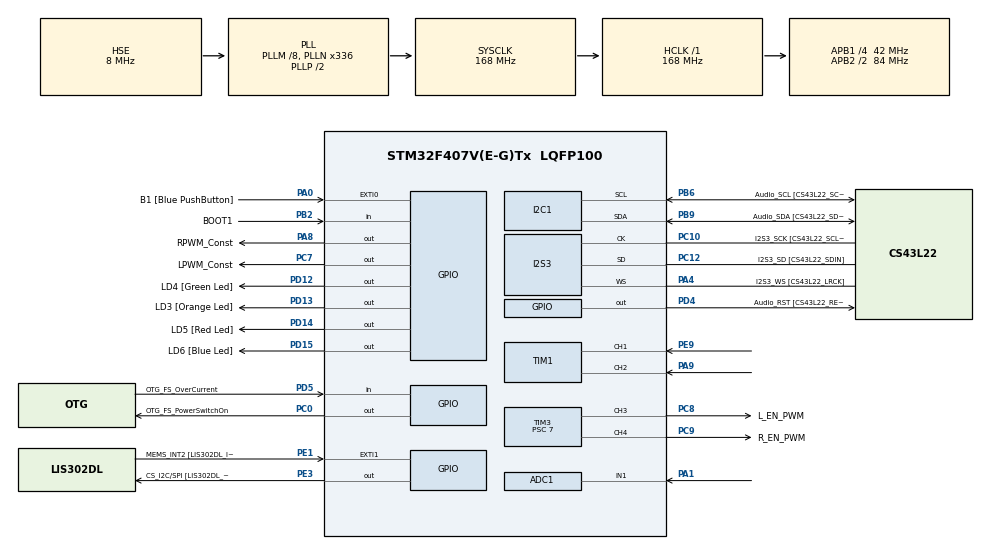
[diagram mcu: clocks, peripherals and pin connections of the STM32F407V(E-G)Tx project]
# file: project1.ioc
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ADC1.Channel-1\#ChannelRegularConversion=ADC_CHANNEL_1
ADC1.ContinuousConvMode=DISABLE
ADC1.DMAContinuousRequests=ENABLE
ADC1.ExternalTrigConv=ADC_EXTERNALTRIGCONV_T2_CC2
ADC1.NbrOfConversionFlag=1
ADC1.Rank-1\#ChannelRegularConversion=1
ADC1.SamplingTime-1\#ChannelRegularConversion=ADC_SAMPLETIME_28CYCLES
ADC1.master=1
Dma.ADC1.0.Direction=DMA_PERIPH_TO_MEMORY
Dma.ADC1.0.FIFOMode=DMA_FIFOMODE_DISABLE
Dma.ADC1.0.Instance=DMA2_Stream0
Dma.ADC1.0.MemDataAlignment=DMA_MDATAALIGN_HALFWORD
Dma.ADC1.0.MemInc=DMA_MINC_ENABLE
Dma.ADC1.0.Mode=DMA_CIRCULAR
Dma.ADC1.0.PeriphDataAlignment=DMA_PDATAALIGN_HALFWORD
Dma.ADC1.0.PeriphInc=DMA_PINC_DISABLE
Dma.ADC1.0.Priority=DMA_PRIORITY_MEDIUM
Dma.Request0=ADC1
I2S3.ErrorAudioFreq=0.0 %
I2S3.FullDuplexMode=I2S_FULLDUPLEXMODE_DISABLE
I2S3.Instance=SPI$Index
I2S3.RealAudioFreq=8.0 KHz
I2S3.VirtualMode=I2S_MODE_MASTER
Mcu.Family=STM32F4
Mcu.Name=STM32F407V(E-G)Tx
Mcu.Package=LQFP100
NVIC.DMA2_Stream0_IRQn=true\:0\:0\:false\:false\:true\:false\:true\:true
NVIC.PriorityGroup=NVIC_PRIORITYGROUP_0
NVIC.TIM1_CC_IRQn=true\:0\:0\:false\:false\:true\:true\:true\:true
NVIC.TIM6_DAC_IRQn=true\:0\:0\:false\:false\:true\:true\:true\:true
PA0-WKUP.GPIO_Label=B1 [Blue PushButton]
PA0-WKUP.GPIO_ModeDefaultEXTI=GPIO_MODE_EVT_RISING
PA0-WKUP.GPIO_PuPd=GPIO_NOPULL
PA0-WKUP.Signal=GPXTI0
PA1.Signal=ADCx_IN1
PA13.GPIO_Label=SWDIO
PA13.Mode=Serial_Wire
PA13.Signal=SYS_JTMS-SWDIO
PA14.GPIO_Label=SWCLK
PA14.Mode=Serial_Wire
PA14.Signal=SYS_JTCK-SWCLK
PA4.GPIO_Label=I2S3_WS [CS43L22_LRCK]
PA4.GPIO_Mode=GPIO_MODE_AF_PP
PA4.GPIO_PuPd=GPIO_NOPULL
PA4.GPIO_Speed=GPIO_SPEED_FREQ_LOW
PA4.Mode=Half_Duplex_Master
PA4.Signal=I2S3_WS
PA5.GPIO_Label=SPI1_SCK [LIS302DL_SCL/SPC]
PA5.GPIO_Mode=GPIO_MODE_AF_PP
PA5.GPIO_PuPd=GPIO_NOPULL
PA5.GPIO_Speed=GPIO_SPEED_FREQ_LOW
PA5.Signal=SPI1_SCK
PA6.GPIO_Label=SPI1_MISO [LIS302DL_SDO]
PA6.GPIO_Mode=GPIO_MODE_AF_PP
PA6.GPIO_PuPd=GPIO_NOPULL
PA6.GPIO_Speed=GPIO_SPEED_FREQ_LOW
PA6.Signal=SPI1_MISO
PA7.GPIO_Label=SPI1_MOSI [LIS302DL_SDA/SDI/SDO]
PA7.GPIO_Mode=GPIO_MODE_AF_PP
PA7.GPIO_PuPd=GPIO_NOPULL
PA7.GPIO_Speed=GPIO_SPEED_FREQ_LOW
PA7.Signal=SPI1_MOSI
PA8.GPIO_Label=RPWM_Const
PA8.GPIO_Speed=GPIO_SPEED_FREQ_HIGH
PA8.Signal=GPIO_Output
PA9.Signal=S_TIM1_CH2
PB10.GPIO_Label=CLK_IN [MP45DT02_CLK]
PB10.GPIO_Mode=GPIO_MODE_AF_PP
PB10.GPIO_PuPd=GPIO_NOPULL
PB10.GPIO_Speed=GPIO_SPEED_FREQ_LOW
PB10.Signal=I2S2_CK
PB2.GPIO_Label=BOOT1
PB2.GPIO_Mode=GPIO_MODE_INPUT
PB2.GPIO_PuPd=GPIO_NOPULL
PB2.Signal=GPIO_Input
PB3.GPIO_Label=SWO
PB3.Signal=SYS_JTDO-SWO
PB6.GPIO_Label=Audio_SCL [CS43L22_SCL]
PB6.GPIO_Mode=GPIO_MODE_AF_OD
PB6.GPIO_Pu=GPIO_PULLUP
PB6.GPIO_PuPd=GPIO_NOPULL
PB6.GPIO_Speed=GPIO_SPEED_FREQ_LOW
PB6.Mode=I2C
PB6.Signal=I2C1_SCL
PB9.GPIO_Label=Audio_SDA [CS43L22_SDA]
PB9.GPIO_Mode=GPIO_MODE_AF_OD
PB9.GPIO_Pu=GPIO_PULLUP
PB9.GPIO_PuPd=GPIO_NOPULL
PB9.GPIO_Speed=GPIO_SPEED_FREQ_LOW
PB9.Mode=I2C
PB9.Signal=I2C1_SDA
PC0.GPIO_Label=OTG_FS_PowerSwitchOn
PC0.GPIO_PuPd=GPIO_NOPULL
PC0.GPIO_Speed=GPIO_SPEED_FREQ_LOW
PC0.PinState=GPIO_PIN_SET
PC0.Signal=GPIO_Output
PC10.GPIO_Label=I2S3_SCK [CS43L22_SCLK]
PC10.GPIO_Mode=GPIO_MODE_AF_PP
PC10.GPIO_PuPd=GPIO_NOPULL
PC10.GPIO_Speed=GPIO_SPEED_FREQ_LOW
PC10.Mode=Half_Duplex_Master
PC10.Signal=I2S3_CK
PC12.GPIO_Label=I2S3_SD [CS43L22_SDIN]
PC12.GPIO_Mode=GPIO_MODE_AF_PP
PC12.GPIO_PuPd=GPIO_NOPULL
PC12.GPIO_Speed=GPIO_SPEED_FREQ_LOW
PC12.Mode=Half_Duplex_Master
PC12.Signal=I2S3_SD
PC14-OSC32_IN.GPIO_Label=PC14-OSC32_IN
PC14-OSC32_IN.Mode=LSE-External-Oscillator
PC14-OSC32_IN.Signal=RCC_OSC32_IN
PC15-OSC32_OUT.GPIO_Label=PC15-OSC32_OUT
PC15-OSC32_OUT.Mode=LSE-External-Oscillator
PC15-OSC32_OUT.Signal=RCC_OSC32_OUT
PC3.GPIO_Label=PDM_OUT [MP45DT02_DOUT]
PC3.GPIO_Mode=GPIO_MODE_AF_PP
PC3.GPIO_PuPd=GPIO_NOPULL
PC3.GPIO_Speed=GPIO_SPEED_FREQ_LOW
PC3.Signal=I2S2_SD
PC7.GPIO_Label=LPWM_Const
PC7.GPIO_Speed=GPIO_SPEED_FREQ_HIGH
PC7.Signal=GPIO_Output
PC8.GPIO_Label=L_EN_PWM
PC8.GPIO_Speed=GPIO_SPEED_FREQ_HIGH
PC8.Signal=S_TIM3_CH3
PC9.GPIO_Label=R_EN_PWM
PC9.GPIO_Speed=GPIO_SPEED_FREQ_HIGH
PC9.Signal=S_TIM3_CH4
PD12.GPIO_Label=LD4 [Green Led]
PD12.GPIO_PuPd=GPIO_NOPULL
PD12.GPIO_Speed=GPIO_SPEED_FREQ_LOW
PD12.Signal=GPIO_Output
PD13.GPIO_Label=LD3 [Orange Led]
PD13.GPIO_PuPd=GPIO_NOPULL
PD13.GPIO_Speed=GPIO_SPEED_FREQ_LOW
PD13.Signal=GPIO_Output
PD14.GPIO_Label=LD5 [Red Led]
PD14.GPIO_PuPd=GPIO_NOPULL
PD14.GPIO_Speed=GPIO_SPEED_FREQ_LOW
PD14.Signal=GPIO_Output
PD15.GPIO_Label=LD6 [Blue Led]
PD15.GPIO_PuPd=GPIO_NOPULL
PD15.GPIO_Speed=GPIO_SPEED_FREQ_LOW
PD15.Signal=GPIO_Output
PD4.GPIO_Label=Audio_RST [CS43L22_RESET]
PD4.GPIO_PuPd=GPIO_NOPULL
PD4.GPIO_Speed=GPIO_SPEED_FREQ_LOW
PD4.Signal=GPIO_Output
PD5.GPIO_Label=OTG_FS_OverCurrent
PD5.GPIO_Mode=GPIO_MODE_INPUT
PD5.GPIO_PuPd=GPIO_NOPULL
PD5.Signal=GPIO_Input
PE1.GPIO_Label=MEMS_INT2 [LIS302DL_INT2]
PE1.GPIO_ModeDefaultEXTI=GPIO_MODE_EVT_RISING
PE1.GPIO_PuPd=GPIO_NOPULL
PE1.Signal=GPXTI1
PE3.GPIO_Label=CS_I2C/SPI [LIS302DL_CS_I2C/SPI]
PE3.GPIO_PuPd=GPIO_NOPULL
PE3.GPIO_Speed=GPIO_SPEED_FREQ_LOW
PE3.Signal=GPIO_Output
PE9.Signal=S_TIM1_CH1
PH0-OSC_IN.GPIO_Label=PH0-OSC_IN
PH0-OSC_IN.Mode=HSE-External-Oscillator
PH0-OSC_IN.Signal=RCC_OSC_IN
PH1-OSC_OUT.GPIO_Label=PH1-OSC_OUT
PH1-OSC_OUT.Mode=HSE-External-Oscillator
PH1-OSC_OUT.Signal=RCC_OSC_OUT
ProjectManager.HeapSize=0x200
ProjectManager.StackSize=0x400
ProjectManager.TargetToolchain=STM32CubeIDE
RCC.48MHZClocksFreq_Value=48000000
RCC.AHBFreq_Value=168000000
RCC.APB1CLKDivider=RCC_HCLK_DIV4
RCC.APB1Freq_Value=42000000
RCC.APB1TimFreq_Value=84000000
RCC.APB2CLKDivider=RCC_HCLK_DIV2
RCC.APB2Freq_Value=84000000
RCC.APB2TimFreq_Value=168000000
RCC.CortexFreq_Value=168000000
RCC.HCLKFreq_Value=168000000
RCC.HSE_VALUE=8000000
RCC.HSI_VALUE=16000000
RCC.PLLM=8
RCC.PLLN=336
RCC.PLLQ=7
RCC.PLLSourceVirtual=RCC_PLLSOURCE_HSE
RCC.SYSCLKFreq_VALUE=168000000
RCC.SYSCLKSource=RCC_SYSCLKSOURCE_PLLCLK
RCC.VCOOutputFreq_Value=336000000
SH.ADCx_IN1.0=ADC1_IN1,IN1
SH.S_TIM1_CH1.0=TIM1_CH1,Encoder_Interface
SH.S_TIM1_CH2.0=TIM1_CH2,Encoder_Interface
SH.S_TIM3_CH3.0=TIM3_CH3,PWM Generation3 CH3
SH.S_TIM3_CH4.0=TIM3_CH4,PWM Generation4 CH4
TIM1.EncoderMode=TIM_ENCODERMODE_TI12
TIM2.Period=9
TIM2.Prescaler=8399
TIM2.TIM_MasterOutputTrigger=TIM_TRGO_UPDATE
TIM3.Channel-PWM\ Generation3\ CH3=TIM_CHANNEL_3
TIM3.Channel-PWM\ Generation4\ CH4=TIM_CHANNEL_4
TIM3.Period=999
TIM3.Prescaler=7
TIM6.Period=9999
TIM6.Prescaler=8399
VP_TIM2_VS_ClockSourceINT.Mode=Internal
VP_TIM6_VS_ClockSourceINT.Mode=Enable_Timer
board=STM32F407G-DISC1

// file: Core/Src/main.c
/* USER CODE BEGIN Header */

/* USER CODE END Header */
#include "main.h"

ADC_HandleTypeDef hadc1;
DMA_HandleTypeDef hdma_adc1;

I2C_HandleTypeDef hi2c1;

I2S_HandleTypeDef hi2s3;

TIM_HandleTypeDef htim1;
TIM_HandleTypeDef htim2;
TIM_HandleTypeDef htim3;
TIM_HandleTypeDef htim6;

/* USER CODE BEGIN PV */

/* ---------- encoder / timing ---------- */

/* Counts and timing */
const uint32_t SAMPLE_HZ = 1; // 1 Hz (1 s)
const uint32_t SAMPLE_INTERVAL_HZ = 1000000u / SAMPLE_HZ; // 1 Hz (1 s)

volatile uint8_t encoder_print_request = 0; // запрос на отладочную печать скорости (поднимается раз в секунду по прерыванию)

volatile int16_t encoder_last_cnt = 0;     // last 16-bit reading (signed cast)
volatile int64_t encoder_total = 0;        // cumulative total ticks (64-bit to avoid overflow)
volatile int32_t encoder_delta = 0;        // last delta (ticks)
volatile float encoder_speed_tps = 0.0f;   // ticks per second (sampled)
volatile int8_t encoder_direction = 0;     // sign of speed: 1 / -1 / 0

/* encoder parameters */
const int ENCODER_TICKS_PER_MOTOR_REV = 44;   // 44 (A↑/A↓/B↑/B↓)*11 на моторном валу
const int GEAR_RATIO = 131;                  // мотор:редуктор = 131:1
const int TICKS_PER_OUTPUT_REV = ENCODER_TICKS_PER_MOTOR_REV * GEAR_RATIO;

/* periodic sampling using DWT micros()*/
static uint32_t encoder_sample_interval_us = 10000u; // 10 ms => 100 Hz
static uint32_t encoder_last_sample_us = 0u;

/* TIM clock (timer input clock Hz) */
uint32_t TIM1_clk_hz = 0u;

/* ----------motors_tests---------------------------*/
uint32_t motor_state = 0;
uint32_t motor_state_last_ts = 0;

/* ---------- DWT microsecond timer (for precise dt) ---------- */
static uint32_t dwt_cycles_per_us = 0u;
static void DWT_Init(void)
{
    /* Enable DWT cycle counter for microsecond timestamps */
    if (!(CoreDebug->DEMCR & CoreDebug_DEMCR_TRCENA_Msk)) {
        CoreDebug->DEMCR |= CoreDebug_DEMCR_TRCENA_Msk;
    }
    DWT->CYCCNT = 0;
    DWT->CTRL |= DWT_CTRL_CYCCNTENA_Msk;

    /* SystemCoreClock must be updated before this call */
    dwt_cycles_per_us = SystemCoreClock / 1000000u;
    if (dwt_cycles_per_us == 0u) dwt_cycles_per_us = 1u; /* guard */
}
static inline uint32_t micros(void)
{
    /* Return microseconds since DWT->CYCCNT reset */
    return (uint32_t)(DWT->CYCCNT / dwt_cycles_per_us);
}

/* ---------- ADC (current sense) ---------- */
volatile uint16_t adc_val = 0;
volatile uint32_t adc_sample_counter = 0;

const float ADC_VREF = 3.3f;
const float ADC_MAX = 4095.0f;
const float ACS_SENS = 0.185f;     // V/A for ACS712-5A
const float VOLT_DIV_RATIO = 1.0f; // volt divider

volatile float V_zero = 0.0f;

/* USER CODE END PV */

void SystemClock_Config(void);
static void MX_GPIO_Init(void);
static void MX_DMA_Init(void);
static void MX_I2C1_Init(void);
static void MX_I2S3_Init(void);
static void MX_TIM3_Init(void);
static void MX_ADC1_Init(void);
static void MX_TIM2_Init(void);
static void MX_TIM1_Init(void);
static void MX_TIM6_Init(void);
/* USER CODE BEGIN PFP */
/* motor functions */
uint32_t Speed_To_Duty(int16_t speed);
void Set_Motor_Speed(int16_t speed);
void Set_Motor_Brake(int16_t speed);
static inline void set_direction_forward(void);
static inline void set_direction_backward(void);
static inline void set_direction_stop_brake(void);
static inline void set_speed(uint32_t duty);

/* encoder functions */
void encoder_init_and_start(void);
void HAL_TIM_PeriodElapsedCallback(TIM_HandleTypeDef *htim);
float ticks_to_rad_per_sec(float ticks_per_sec);
float ticks_to_rpm(float ticks_per_sec);

/* USER CODE END PFP */

int main(void)
{

  /* MCU Configuration--------------------------------------------------------*/

  /* Reset of all peripherals, Initializes the Flash interface and the Systick. */
  HAL_Init();

  /* Configure the system clock */
  SystemClock_Config();

  /* Initialize all configured peripherals */
  MX_GPIO_Init();
  MX_DMA_Init();
  MX_I2C1_Init();
  MX_I2S3_Init();
  MX_TIM3_Init(); // PWM
  MX_ADC1_Init();
  MX_TIM2_Init(); // ADC TRGO timer
  MX_TIM1_Init(); // encoder
  MX_TIM6_Init(); // basic timer for periodic updates (speed)
  /* USER CODE BEGIN 2 */

  /* start PWM channels (motor) */
  if (HAL_TIM_PWM_Start(&htim3, TIM_CHANNEL_4) != HAL_OK) Error_Handler();
  if (HAL_TIM_PWM_Start(&htim3, TIM_CHANNEL_3) != HAL_OK) Error_Handler();
  set_direction_stop_brake();

  /* update SystemCoreClock and init DWT micros() */
  // Здесь запускаем аппаратный счётчик тактов на CPU
  SystemCoreClockUpdate();
  DWT_Init();
  //printf("DWT cycles/us = %u, micros() = %u\n", dwt_cycles_per_us, micros());

  /* compute TIM1 clock: timers on APB2 get clock = PCLK2 * (APB2_prescaler==1 ? 1 : 2) */
  uint32_t pclk2 = HAL_RCC_GetPCLK2Freq(); // returns PCLK2
  // If APB2 prescaler != 1, timer clock is doubled on STM32F4 family
  TIM1_clk_hz = ( (RCC->CFGR & RCC_CFGR_PPRE2) == RCC_CFGR_PPRE2_DIV1 ) ? pclk2 : (pclk2 * 2u);

  /* Start encoder interface (hardware encoder mode) */
  encoder_init_and_start();

  /* Configure ADC DMA (circular) and start ADC with DMA. */
  if (HAL_ADC_Start_DMA(&hadc1, (uint32_t*)&adc_val, 1) != HAL_OK) { Error_Handler(); }
  /* Start TIM2 (it is configured to generate TRGO for ADC) */
  if (HAL_TIM_Base_Start(&htim2) != HAL_OK) { Error_Handler(); } // TIM2 -> ADC TRGO in your config

  /* calibration: read some samples to compute V_zero */
  HAL_Delay(200);
  uint32_t sum = 0;
  const int CAL_SAMPLES = 200;
  for (int i=0; i<CAL_SAMPLES; ++i) {
      HAL_Delay(1);
      sum += (uint32_t)adc_val;
  }
  float adc_avg = (float)sum / (float)CAL_SAMPLES;
  V_zero = adc_avg * (ADC_VREF / ADC_MAX) / VOLT_DIV_RATIO;
  printf("ADC zero calibrated: adc_avg=%.1f, V_zero=%.4f V\r\n", adc_avg, V_zero);

  encoder_last_sample_us = micros();

  /* USER CODE END 2 */

  /* Infinite loop */
  while (1)
  {

    /* USER CODE BEGIN 3 */

    if (encoder_print_request) {
    	encoder_print_request = 0;
    	float rpm = ticks_to_rpm(encoder_speed_tps);
    	float rds = ticks_to_rad_per_sec(encoder_speed_tps);
    	printf("rpm=%.2f rds=%.2f tps=%.1f dir=%d\n", rpm, rds, encoder_speed_tps, (int)encoder_direction);
    	uint32_t pclk2 = HAL_RCC_GetPCLK2Freq();
    	uint32_t tim1_clk = ( (RCC->CFGR & RCC_CFGR_PPRE2) == RCC_CFGR_PPRE2_DIV1 ) ? pclk2 : (pclk2 * 2u);
    	printf("HCLK=%lu PCLK2=%lu TIM1_clk=%lu\n", (unsigned long)SystemCoreClock, (unsigned long)pclk2, (unsigned long)tim1_clk);
    }

    uint32_t now = HAL_GetTick();
    uint32_t elapsed = now - motor_state_last_ts;
    switch (motor_state) {
        case 0:
            Set_Motor_Speed(-800);
            motor_state_last_ts = now;
            motor_state = 1;
            break;
        case 1:
        	if (elapsed >= 3000u) {
        	    Set_Motor_Brake(0);
        	    motor_state_last_ts = now;
        	    motor_state = 2;
        	}
        	break;
        case 2:
            if (elapsed >= 3000u) {
                Set_Motor_Speed(800);
                motor_state_last_ts = now;
                motor_state = 3;
            }
            break;
        case 3:
        	if (elapsed >= 3000u) {
        	    Set_Motor_Brake(0);
        	    motor_state_last_ts = now;
        	    motor_state = 4;
        	}
        	break;
        case 4:
            if (elapsed >= 3000u) {
                motor_state_last_ts = now;
                motor_state = 0;
            }
            break;
        default:
        	motor_state = 0;
        	motor_state_last_ts = now;
        	break;
    }
  }
  /* USER CODE END 3 */
}

void SystemClock_Config(void)
{
  RCC_OscInitTypeDef RCC_OscInitStruct = {0};
  RCC_ClkInitTypeDef RCC_ClkInitStruct = {0};

  /** Configure the main internal regulator output voltage
  */
  __HAL_RCC_PWR_CLK_ENABLE();
  __HAL_PWR_VOLTAGESCALING_CONFIG(PWR_REGULATOR_VOLTAGE_SCALE1);

  /** Initializes the RCC Oscillators according to the specified parameters
  * in the RCC_OscInitTypeDef structure.
  */
  RCC_OscInitStruct.OscillatorType = RCC_OSCILLATORTYPE_HSE;
  RCC_OscInitStruct.HSEState = RCC_HSE_ON;
  RCC_OscInitStruct.PLL.PLLState = RCC_PLL_ON;
  RCC_OscInitStruct.PLL.PLLSource = RCC_PLLSOURCE_HSE;
  RCC_OscInitStruct.PLL.PLLM = 8;
  RCC_OscInitStruct.PLL.PLLN = 336;
  RCC_OscInitStruct.PLL.PLLP = RCC_PLLP_DIV2;
  RCC_OscInitStruct.PLL.PLLQ = 7;
  if (HAL_RCC_OscConfig(&RCC_OscInitStruct) != HAL_OK)
  {
    Error_Handler();
  }

  /** Initializes the CPU, AHB and APB buses clocks
  */
  RCC_ClkInitStruct.ClockType = RCC_CLOCKTYPE_HCLK|RCC_CLOCKTYPE_SYSCLK
                              |RCC_CLOCKTYPE_PCLK1|RCC_CLOCKTYPE_PCLK2;
  RCC_ClkInitStruct.SYSCLKSource = RCC_SYSCLKSOURCE_PLLCLK;
  RCC_ClkInitStruct.AHBCLKDivider = RCC_SYSCLK_DIV1;
  RCC_ClkInitStruct.APB1CLKDivider = RCC_HCLK_DIV4;
  RCC_ClkInitStruct.APB2CLKDivider = RCC_HCLK_DIV2;

  if (HAL_RCC_ClockConfig(&RCC_ClkInitStruct, FLASH_LATENCY_5) != HAL_OK)
  {
    Error_Handler();
  }
}

static void MX_ADC1_Init(void)
{

  ADC_ChannelConfTypeDef sConfig = {0};

  /** Configure the global features of the ADC (Clock, Resolution, Data Alignment and number of conversion)
  */
  hadc1.Instance = ADC1;
  hadc1.Init.ClockPrescaler = ADC_CLOCK_SYNC_PCLK_DIV4;
  hadc1.Init.Resolution = ADC_RESOLUTION_12B;
  hadc1.Init.ScanConvMode = DISABLE;
  hadc1.Init.ContinuousConvMode = DISABLE;
  hadc1.Init.DiscontinuousConvMode = DISABLE;
  hadc1.Init.ExternalTrigConvEdge = ADC_EXTERNALTRIGCONVEDGE_RISING;
  hadc1.Init.ExternalTrigConv = ADC_EXTERNALTRIGCONV_T2_CC2;
  hadc1.Init.DataAlign = ADC_DATAALIGN_RIGHT;
  hadc1.Init.NbrOfConversion = 1;
  hadc1.Init.DMAContinuousRequests = ENABLE;
  hadc1.Init.EOCSelection = ADC_EOC_SINGLE_CONV;
  if (HAL_ADC_Init(&hadc1) != HAL_OK)
  {
    Error_Handler();
  }

  /** Configure for the selected ADC regular channel its corresponding rank in the sequencer and its sample time.
  */
  sConfig.Channel = ADC_CHANNEL_1;
  sConfig.Rank = 1;
  sConfig.SamplingTime = ADC_SAMPLETIME_28CYCLES;
  if (HAL_ADC_ConfigChannel(&hadc1, &sConfig) != HAL_OK)
  {
    Error_Handler();
  }

}

static void MX_I2C1_Init(void)
{

  hi2c1.Instance = I2C1;
  hi2c1.Init.ClockSpeed = 100000;
  hi2c1.Init.DutyCycle = I2C_DUTYCYCLE_2;
  hi2c1.Init.OwnAddress1 = 0;
  hi2c1.Init.AddressingMode = I2C_ADDRESSINGMODE_7BIT;
  hi2c1.Init.DualAddressMode = I2C_DUALADDRESS_DISABLE;
  hi2c1.Init.OwnAddress2 = 0;
  hi2c1.Init.GeneralCallMode = I2C_GENERALCALL_DISABLE;
  hi2c1.Init.NoStretchMode = I2C_NOSTRETCH_DISABLE;
  if (HAL_I2C_Init(&hi2c1) != HAL_OK)
  {
    Error_Handler();
  }

}

static void MX_I2S3_Init(void)
{

  hi2s3.Instance = SPI3;
  hi2s3.Init.Mode = I2S_MODE_MASTER_TX;
  hi2s3.Init.Standard = I2S_STANDARD_PHILIPS;
  hi2s3.Init.DataFormat = I2S_DATAFORMAT_16B;
  hi2s3.Init.MCLKOutput = I2S_MCLKOUTPUT_DISABLE;
  hi2s3.Init.AudioFreq = I2S_AUDIOFREQ_8K;
  hi2s3.Init.CPOL = I2S_CPOL_LOW;
  hi2s3.Init.ClockSource = I2S_CLOCK_PLL;
  hi2s3.Init.FullDuplexMode = I2S_FULLDUPLEXMODE_DISABLE;
  if (HAL_I2S_Init(&hi2s3) != HAL_OK)
  {
    Error_Handler();
  }

}

static void MX_TIM1_Init(void)
{

  TIM_Encoder_InitTypeDef sConfig = {0};
  TIM_MasterConfigTypeDef sMasterConfig = {0};

  htim1.Instance = TIM1;
  htim1.Init.Prescaler = 0;
  htim1.Init.CounterMode = TIM_COUNTERMODE_UP;
  htim1.Init.Period = 65535;
  htim1.Init.ClockDivision = TIM_CLOCKDIVISION_DIV1;
  htim1.Init.RepetitionCounter = 0;
  htim1.Init.AutoReloadPreload = TIM_AUTORELOAD_PRELOAD_DISABLE;
  sConfig.EncoderMode = TIM_ENCODERMODE_TI12;
  sConfig.IC1Polarity = TIM_ICPOLARITY_RISING;
  sConfig.IC1Selection = TIM_ICSELECTION_DIRECTTI;
  sConfig.IC1Prescaler = TIM_ICPSC_DIV1;
  sConfig.IC1Filter = 0;
  sConfig.IC2Polarity = TIM_ICPOLARITY_RISING;
  sConfig.IC2Selection = TIM_ICSELECTION_DIRECTTI;
  sConfig.IC2Prescaler = TIM_ICPSC_DIV1;
  sConfig.IC2Filter = 0;
  if (HAL_TIM_Encoder_Init(&htim1, &sConfig) != HAL_OK)
  {
    Error_Handler();
  }
  sMasterConfig.MasterOutputTrigger = TIM_TRGO_RESET;
  sMasterConfig.MasterSlaveMode = TIM_MASTERSLAVEMODE_DISABLE;
  if (HAL_TIMEx_MasterConfigSynchronization(&htim1, &sMasterConfig) != HAL_OK)
  {
    Error_Handler();
  }

}

static void MX_TIM2_Init(void)
{

  TIM_ClockConfigTypeDef sClockSourceConfig = {0};
  TIM_MasterConfigTypeDef sMasterConfig = {0};

  htim2.Instance = TIM2;
  htim2.Init.Prescaler = 8399;
  htim2.Init.CounterMode = TIM_COUNTERMODE_UP;
  htim2.Init.Period = 9;
  htim2.Init.ClockDivision = TIM_CLOCKDIVISION_DIV1;
  htim2.Init.AutoReloadPreload = TIM_AUTORELOAD_PRELOAD_DISABLE;
  if (HAL_TIM_Base_Init(&htim2) != HAL_OK)
  {
    Error_Handler();
  }
  sClockSourceConfig.ClockSource = TIM_CLOCKSOURCE_INTERNAL;
  if (HAL_TIM_ConfigClockSource(&htim2, &sClockSourceConfig) != HAL_OK)
  {
    Error_Handler();
  }
  sMasterConfig.MasterOutputTrigger = TIM_TRGO_UPDATE;
  sMasterConfig.MasterSlaveMode = TIM_MASTERSLAVEMODE_DISABLE;
  if (HAL_TIMEx_MasterConfigSynchronization(&htim2, &sMasterConfig) != HAL_OK)
  {
    Error_Handler();
  }

}

static void MX_TIM3_Init(void)
{

  TIM_MasterConfigTypeDef sMasterConfig = {0};
  TIM_OC_InitTypeDef sConfigOC = {0};

  htim3.Instance = TIM3;
  htim3.Init.Prescaler = 7;
  htim3.Init.CounterMode = TIM_COUNTERMODE_UP;
  htim3.Init.Period = 999;
  htim3.Init.ClockDivision = TIM_CLOCKDIVISION_DIV1;
  htim3.Init.AutoReloadPreload = TIM_AUTORELOAD_PRELOAD_DISABLE;
  if (HAL_TIM_PWM_Init(&htim3) != HAL_OK)
  {
    Error_Handler();
  }
  sMasterConfig.MasterOutputTrigger = TIM_TRGO_RESET;
  sMasterConfig.MasterSlaveMode = TIM_MASTERSLAVEMODE_DISABLE;
  if (HAL_TIMEx_MasterConfigSynchronization(&htim3, &sMasterConfig) != HAL_OK)
  {
    Error_Handler();
  }
  sConfigOC.OCMode = TIM_OCMODE_PWM1;
  sConfigOC.Pulse = 0;
  sConfigOC.OCPolarity = TIM_OCPOLARITY_HIGH;
  sConfigOC.OCFastMode = TIM_OCFAST_DISABLE;
  if (HAL_TIM_PWM_ConfigChannel(&htim3, &sConfigOC, TIM_CHANNEL_3) != HAL_OK)
  {
    Error_Handler();
  }
  if (HAL_TIM_PWM_ConfigChannel(&htim3, &sConfigOC, TIM_CHANNEL_4) != HAL_OK)
  {
    Error_Handler();
  }
  HAL_TIM_MspPostInit(&htim3);

}

static void MX_TIM6_Init(void)
{

  TIM_MasterConfigTypeDef sMasterConfig = {0};

  htim6.Instance = TIM6;
  htim6.Init.Prescaler = 8399;
  htim6.Init.CounterMode = TIM_COUNTERMODE_UP;
  htim6.Init.Period = 9999;
  htim6.Init.AutoReloadPreload = TIM_AUTORELOAD_PRELOAD_DISABLE;
  if (HAL_TIM_Base_Init(&htim6) != HAL_OK)
  {
    Error_Handler();
  }
  sMasterConfig.MasterOutputTrigger = TIM_TRGO_RESET;
  sMasterConfig.MasterSlaveMode = TIM_MASTERSLAVEMODE_DISABLE;
  if (HAL_TIMEx_MasterConfigSynchronization(&htim6, &sMasterConfig) != HAL_OK)
  {
    Error_Handler();
  }
  if (HAL_TIM_Base_Start_IT(&htim6) != HAL_OK) {
	  Error_Handler();
  }
  /* USER CODE BEGIN TIM6_Init 2 */
  HAL_NVIC_SetPriority(TIM6_DAC_IRQn, 2, 0);
  HAL_NVIC_EnableIRQ(TIM6_DAC_IRQn);
  /* USER CODE END TIM6_Init 2 */

}

static void MX_DMA_Init(void)
{

  /* DMA controller clock enable */
  __HAL_RCC_DMA2_CLK_ENABLE();

  /* DMA interrupt init */
  /* DMA2_Stream0_IRQn interrupt configuration */
  HAL_NVIC_SetPriority(DMA2_Stream0_IRQn, 0, 0);
  HAL_NVIC_EnableIRQ(DMA2_Stream0_IRQn);

}

static void MX_GPIO_Init(void)
{
  GPIO_InitTypeDef GPIO_InitStruct = {0};

  /* GPIO Ports Clock Enable */
  __HAL_RCC_GPIOE_CLK_ENABLE();
  __HAL_RCC_GPIOC_CLK_ENABLE();
  __HAL_RCC_GPIOH_CLK_ENABLE();
  __HAL_RCC_GPIOA_CLK_ENABLE();
  __HAL_RCC_GPIOB_CLK_ENABLE();
  __HAL_RCC_GPIOD_CLK_ENABLE();

  /*Configure GPIO pin Output Level */
  HAL_GPIO_WritePin(CS_I2C_SPI_GPIO_Port, CS_I2C_SPI_Pin, GPIO_PIN_RESET);

  /*Configure GPIO pin Output Level */
  HAL_GPIO_WritePin(OTG_FS_PowerSwitchOn_GPIO_Port, OTG_FS_PowerSwitchOn_Pin, GPIO_PIN_SET);

  /*Configure GPIO pin Output Level */
  HAL_GPIO_WritePin(GPIOD, LD4_Pin|LD3_Pin|LD5_Pin|LD6_Pin
                          |Audio_RST_Pin, GPIO_PIN_RESET);

  /*Configure GPIO pin Output Level */
  HAL_GPIO_WritePin(LPWM_Const_GPIO_Port, LPWM_Const_Pin, GPIO_PIN_RESET);

  /*Configure GPIO pin Output Level */
  HAL_GPIO_WritePin(RPWM_Const_GPIO_Port, RPWM_Const_Pin, GPIO_PIN_RESET);

  /*Configure GPIO pin : CS_I2C_SPI_Pin */
  GPIO_InitStruct.Pin = CS_I2C_SPI_Pin;
  GPIO_InitStruct.Mode = GPIO_MODE_OUTPUT_PP;
  GPIO_InitStruct.Pull = GPIO_NOPULL;
  GPIO_InitStruct.Speed = GPIO_SPEED_FREQ_LOW;
  HAL_GPIO_Init(CS_I2C_SPI_GPIO_Port, &GPIO_InitStruct);

  /*Configure GPIO pin : OTG_FS_PowerSwitchOn_Pin */
  GPIO_InitStruct.Pin = OTG_FS_PowerSwitchOn_Pin;
  GPIO_InitStruct.Mode = GPIO_MODE_OUTPUT_PP;
  GPIO_InitStruct.Pull = GPIO_NOPULL;
  GPIO_InitStruct.Speed = GPIO_SPEED_FREQ_LOW;
  HAL_GPIO_Init(OTG_FS_PowerSwitchOn_GPIO_Port, &GPIO_InitStruct);

  /*Configure GPIO pin : PDM_OUT_Pin */
  GPIO_InitStruct.Pin = PDM_OUT_Pin;
  GPIO_InitStruct.Mode = GPIO_MODE_AF_PP;
  GPIO_InitStruct.Pull = GPIO_NOPULL;
  GPIO_InitStruct.Speed = GPIO_SPEED_FREQ_LOW;
  GPIO_InitStruct.Alternate = GPIO_AF5_SPI2;
  HAL_GPIO_Init(PDM_OUT_GPIO_Port, &GPIO_InitStruct);

  /*Configure GPIO pin : B1_Pin */
  GPIO_InitStruct.Pin = B1_Pin;
  GPIO_InitStruct.Mode = GPIO_MODE_EVT_RISING;
  GPIO_InitStruct.Pull = GPIO_NOPULL;
  HAL_GPIO_Init(B1_GPIO_Port, &GPIO_InitStruct);

  /*Configure GPIO pins : SPI1_SCK_Pin SPI1_MISO_Pin SPI1_MOSI_Pin */
  GPIO_InitStruct.Pin = SPI1_SCK_Pin|SPI1_MISO_Pin|SPI1_MOSI_Pin;
  GPIO_InitStruct.Mode = GPIO_MODE_AF_PP;
  GPIO_InitStruct.Pull = GPIO_NOPULL;
  GPIO_InitStruct.Speed = GPIO_SPEED_FREQ_LOW;
  GPIO_InitStruct.Alternate = GPIO_AF5_SPI1;
  HAL_GPIO_Init(GPIOA, &GPIO_InitStruct);

  /*Configure GPIO pin : BOOT1_Pin */
  GPIO_InitStruct.Pin = BOOT1_Pin;
  GPIO_InitStruct.Mode = GPIO_MODE_INPUT;
  GPIO_InitStruct.Pull = GPIO_NOPULL;
  HAL_GPIO_Init(BOOT1_GPIO_Port, &GPIO_InitStruct);

  /*Configure GPIO pin : CLK_IN_Pin */
  GPIO_InitStruct.Pin = CLK_IN_Pin;
  GPIO_InitStruct.Mode = GPIO_MODE_AF_PP;
  GPIO_InitStruct.Pull = GPIO_NOPULL;
  GPIO_InitStruct.Speed = GPIO_SPEED_FREQ_LOW;
  GPIO_InitStruct.Alternate = GPIO_AF5_SPI2;
  HAL_GPIO_Init(CLK_IN_GPIO_Port, &GPIO_InitStruct);

  /*Configure GPIO pins : LD4_Pin LD3_Pin LD5_Pin LD6_Pin
                           Audio_RST_Pin */
  GPIO_InitStruct.Pin = LD4_Pin|LD3_Pin|LD5_Pin|LD6_Pin
                          |Audio_RST_Pin;
  GPIO_InitStruct.Mode = GPIO_MODE_OUTPUT_PP;
  GPIO_InitStruct.Pull = GPIO_NOPULL;
  GPIO_InitStruct.Speed = GPIO_SPEED_FREQ_LOW;
  HAL_GPIO_Init(GPIOD, &GPIO_InitStruct);

  /*Configure GPIO pin : LPWM_Const_Pin */
  GPIO_InitStruct.Pin = LPWM_Const_Pin;
  GPIO_InitStruct.Mode = GPIO_MODE_OUTPUT_PP;
  GPIO_InitStruct.Pull = GPIO_NOPULL;
  GPIO_InitStruct.Speed = GPIO_SPEED_FREQ_HIGH;
  HAL_GPIO_Init(LPWM_Const_GPIO_Port, &GPIO_InitStruct);

  /*Configure GPIO pin : RPWM_Const_Pin */
  GPIO_InitStruct.Pin = RPWM_Const_Pin;
  GPIO_InitStruct.Mode = GPIO_MODE_OUTPUT_PP;
  GPIO_InitStruct.Pull = GPIO_NOPULL;
  GPIO_InitStruct.Speed = GPIO_SPEED_FREQ_HIGH;
  HAL_GPIO_Init(RPWM_Const_GPIO_Port, &GPIO_InitStruct);

  /*Configure GPIO pin : OTG_FS_OverCurrent_Pin */
  GPIO_InitStruct.Pin = OTG_FS_OverCurrent_Pin;
  GPIO_InitStruct.Mode = GPIO_MODE_INPUT;
  GPIO_InitStruct.Pull = GPIO_NOPULL;
  HAL_GPIO_Init(OTG_FS_OverCurrent_GPIO_Port, &GPIO_InitStruct);

  /*Configure GPIO pin : MEMS_INT2_Pin */
  GPIO_InitStruct.Pin = MEMS_INT2_Pin;
  GPIO_InitStruct.Mode = GPIO_MODE_EVT_RISING;
  GPIO_InitStruct.Pull = GPIO_NOPULL;
  HAL_GPIO_Init(MEMS_INT2_GPIO_Port, &GPIO_InitStruct);

  /* USER CODE BEGIN MX_GPIO_Init_2 */

  /* PA1 -> ADC1_IN1 */

  GPIO_InitStruct.Pin = GPIO_PIN_1;
  GPIO_InitStruct.Mode = GPIO_MODE_ANALOG;
  GPIO_InitStruct.Pull = GPIO_NOPULL;
  HAL_GPIO_Init(GPIOA, &GPIO_InitStruct);

  /* TIM1_CH1 -> PE9 */
  GPIO_InitStruct.Pin = GPIO_PIN_9;
  GPIO_InitStruct.Mode = GPIO_MODE_AF_PP;            // alternate func
  GPIO_InitStruct.Pull = GPIO_PULLDOWN;              // or GPIO_PULLUP depending on your hall idle level
  GPIO_InitStruct.Speed = GPIO_SPEED_FREQ_LOW;
  GPIO_InitStruct.Alternate = GPIO_AF1_TIM1;         // AF1 for TIM1 on F4
  HAL_GPIO_Init(GPIOE, &GPIO_InitStruct);

  /* TIM1_CH2 -> PA9 */
  GPIO_InitStruct.Pin = GPIO_PIN_9;
  GPIO_InitStruct.Mode = GPIO_MODE_AF_PP;
  GPIO_InitStruct.Pull = GPIO_PULLDOWN;              // match above
  GPIO_InitStruct.Speed = GPIO_SPEED_FREQ_LOW;
  GPIO_InitStruct.Alternate = GPIO_AF1_TIM1;
  HAL_GPIO_Init(GPIOA, &GPIO_InitStruct);

  /* USER CODE END MX_GPIO_Init_2 */
}

/* USER CODE BEGIN 4 */

// ФУНКЦИЯ ПЕЧАТИ В КОНСОЛЬ
int _write(int file, char *ptr, int len)
{
 (void)file;
 int DataIdx;

 for (DataIdx = 0; DataIdx < len; DataIdx++)
 {
   ITM_SendChar(*ptr++);
 }
 return len;
}

uint32_t Speed_To_Duty(int16_t speed) {
    // ЗДЕСЬ ЕЩЁ В БУДУЩЕМ БУДЕМ УЧИТЫВАТЬ РАДИАНЫ В ШИМ И МЁРТВУЮ ЗОНУ
	const int16_t MAX = 999;
	if (speed > MAX) speed = MAX;
	if (speed < -MAX) speed = -MAX;

	return (uint32_t)( (speed > 0) ? speed : -speed );
}

// ФУНКЦИЯ ПЕРЕДАЧИ СКОРОСТИ НА МОТОР
void Set_Motor_Speed(int16_t speed) {
	uint32_t duty = Speed_To_Duty(speed);

	if (speed > 0) {
		/* FORWARD */
		set_direction_forward();
		set_speed(duty);
	} else if (speed < 0) {
		/* BACKWARD */  /* USER CODE BEGIN 6 */
		  /* User can add his own implementation to report the file name and line number,
		     ex: printf("Wrong parameters value: file %s on line %d\r\n", file, line) */
		  /* USER CODE END 6 */
		set_direction_backward();
		set_speed(duty);
	}
}

// ФУНКЦИЯ ЗАПУСКАЮЩАЯ ТОРМОЖЕНИЕ
void Set_Motor_Brake(int16_t speed) {
	uint32_t duty = Speed_To_Duty(speed);
	set_direction_stop_brake();
	set_speed(duty);
}

/* ФУНКЦИИ НИЗКОГО УРОВНЯ*/
static inline void set_direction_forward(void) {
	/* L_PWM = LOW, R_PWM = HIGH*/
	HAL_GPIO_WritePin(LPWM_Const_GPIO_Port, LPWM_Const_Pin, GPIO_PIN_RESET);
	HAL_GPIO_WritePin(RPWM_Const_GPIO_Port, RPWM_Const_Pin, GPIO_PIN_SET);
}

static inline void set_direction_backward(void) {
	/* L_PWM = HIGH, R_PWM = LOW*/
	HAL_GPIO_WritePin(LPWM_Const_GPIO_Port, LPWM_Const_Pin, GPIO_PIN_SET);
	HAL_GPIO_WritePin(RPWM_Const_GPIO_Port, RPWM_Const_Pin, GPIO_PIN_RESET);
}

static inline void set_direction_stop_brake(void) {
	/* L_PWM = HIGH, R_PWM = HIGH*/
	HAL_GPIO_WritePin(LPWM_Const_GPIO_Port, LPWM_Const_Pin, GPIO_PIN_SET);
	HAL_GPIO_WritePin(RPWM_Const_GPIO_Port, RPWM_Const_Pin, GPIO_PIN_SET);
}

static inline void set_speed(uint32_t duty) {
	__HAL_TIM_SET_COMPARE(&htim3, TIM_CHANNEL_4, duty); // PC9
	__HAL_TIM_SET_COMPARE(&htim3, TIM_CHANNEL_3, duty); // PC8
}

/* ---------- ADC conv complete callback (DMA writes adc_val) ---------- */
void HAL_ADC_ConvCpltCallback(ADC_HandleTypeDef* hadc)
{
    (void)hadc;
    adc_sample_counter++;

    float V_adc = ((float)adc_val) * (ADC_VREF / ADC_MAX);
    float V_sensor = V_adc / VOLT_DIV_RATIO;
    float I_meas = (V_sensor - V_zero) / ACS_SENS;

    const uint32_t PRINT_EVERY = 100;
    static uint32_t local_cnt = 0;
    if (++local_cnt >= PRINT_EVERY) {
        local_cnt = 0;
        printf("ADC=%u, V_adc=%.4f V, V_sensor=%.4f V, I=%.3f A\r\n",
               (unsigned)adc_val, V_adc, V_sensor, I_meas);
    }
}

/* ---------------- encoder helpers ---------------- */

void encoder_init_and_start(void)
{
    /* Read initial counter and set last */
    uint16_t cnt = (uint16_t)__HAL_TIM_GET_COUNTER(&htim1);
    //printf("TIM1 started, counter=%u\n", (unsigned)cnt);
    encoder_last_cnt = (int16_t)cnt;
    encoder_total = 0;
    encoder_delta = 0;
    encoder_speed_tps = 0.0f;
    encoder_direction = 0;

    /* Start TIM1 in encoder interface mode (both channels) */
    if (HAL_TIM_Encoder_Start(&htim1, TIM_CHANNEL_ALL) != HAL_OK) { Error_Handler(); }
}

/* вызов поднятия флага печати по прерыванию базового таймера 6 */
void HAL_TIM_PeriodElapsedCallback(TIM_HandleTypeDef *htim)
{
    if (htim->Instance == TIM6) {
    	uint16_t cnt16 = (uint16_t)__HAL_TIM_GET_COUNTER(&htim1);
    	int16_t cnt_s = (int16_t)cnt16;                 /* signed view for overflow handling */
    	int16_t last_s = encoder_last_cnt;
    	int32_t diff = (int32_t)(cnt_s - last_s);       /* signed subtraction handles wrap-around */
    	encoder_last_cnt = cnt_s;
    	encoder_delta = diff;
    	encoder_total += diff;
    	// вычисляем tps, опираясь на частоту опроса
    	encoder_speed_tps = (float)diff * (float)SAMPLE_HZ; // умножить на частоту всё равно что поделить на период
    	encoder_direction = (encoder_speed_tps) ? 1 : (encoder_speed_tps < 0 ? -1 : 0); // хотя скорость и так понятна из знака при _tps можем её явно вычислить
    	// поднимаем флаг печати
    	encoder_print_request = 1;
    }
}

/* conversion helpers */
float ticks_to_rad_per_sec(float ticks_per_sec)
{
    /* rad/s = ticks/s * (2*pi / ticks_per_rev) */
    return ticks_per_sec * (2.0f * 3.14159265358979323846f / (float)TICKS_PER_OUTPUT_REV);
}

float ticks_to_rpm(float ticks_per_sec)
{
    /* rpm = (ticks/sec) / ticks_per_rev * 60 */
    return (ticks_per_sec / (float)TICKS_PER_OUTPUT_REV) * 60.0f;
}

/* USER CODE END 4 */

void Error_Handler(void)
{
  __disable_irq();
  while (1)
  {
  }
}
